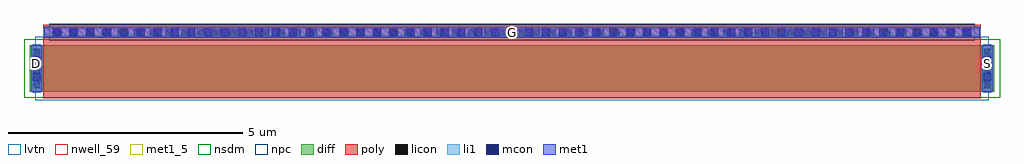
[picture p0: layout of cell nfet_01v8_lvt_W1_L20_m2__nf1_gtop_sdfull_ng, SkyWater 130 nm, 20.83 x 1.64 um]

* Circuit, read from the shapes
.subckt nfet_01v8_lvt_W1_L20_m2__nf1_gtop_sdfull_ng B D G S
XM1 S G D B sky130_fd_pr__nfet_01v8_lvt w=1 l=20
.ends

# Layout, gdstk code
import gdstk
lib = gdstk.Library(unit=1e-6, precision=1e-09)
def R(c, l, rs):  # rectangles x0, y0, x1, y1
    for r in rs: c.add(gdstk.rectangle(r[:2], r[2:], *l))
def A(c, l, x, y, w, h, nx, ny, dx, dy):  # array of equal rectangles
    R(c, l, [(x+i*dx, y+j*dy, x+i*dx+w, y+j*dy+h) for i in range(nx) for j in range(ny)])
nwell_59 = (64, 59)
diff = (65, 20)
poly = (66, 20)
licon = (66, 44)
li1 = (67, 20)
mcon = (67, 44)
met1_5 = (68, 5)
met1 = (68, 20)
nsdm = (93, 44)
npc = (95, 20)
lvtn = (125, 44)

sky130_fd_pr__nfet_01v8_ = lib.new_cell('sky130_fd_pr__nfet_01v8_lvt_MTL633')
R(sky130_fd_pr__nfet_01v8_, diff, [(-10.29,-0.655,10.29,0.345)])
R(sky130_fd_pr__nfet_01v8_, poly, [(-10,-0.785,10,0.785)])
A(sky130_fd_pr__nfet_01v8_, licon, -10.23, -0.58, 0.17, 0.17, 1, 3, 0, 0.34)
A(sky130_fd_pr__nfet_01v8_, licon, 10.06, -0.58, 0.17, 0.17, 1, 3, 0, 0.34)
A(sky130_fd_pr__nfet_01v8_, licon, -9.775, 0.535, 0.17, 0.17, 58, 1, 0.34, 0)
R(sky130_fd_pr__nfet_01v8_, li1, [(-10.23,-0.675,-10.06,0.365), (10.06,-0.675,10.23,0.365), (-10,0.535,10,0.705)])
A(sky130_fd_pr__nfet_01v8_, mcon, -9.805, 0.535, 0.17, 0.17, 55, 1, 0.36, 0)
R(sky130_fd_pr__nfet_01v8_, mcon, [(-10.23,-0.42,-10.06,-0.25), (10.06,-0.42,10.23,-0.25), (-10.23,-0.06,-10.06,0.11), (10.06,-0.06,10.23,0.11)])
R(sky130_fd_pr__nfet_01v8_, met1, [(-10.26,-0.655,-10.03,0.345), (10.03,-0.655,10.26,0.345), (-9.98,0.505,9.98,0.735)])
R(sky130_fd_pr__nfet_01v8_, nsdm, [(-10.415,-0.78,10.415,0.47)])
R(sky130_fd_pr__nfet_01v8_, npc, [(-9.875,0.435,9.875,0.805)])
R(sky130_fd_pr__nfet_01v8_, lvtn, [(-10.18,-0.835,10.18,0.525)])
sky130_fd_pr__nfet_01v8_.add(gdstk.Label('D', (-10.145,-0.155), layer=67, texttype=5))
sky130_fd_pr__nfet_01v8_.add(gdstk.Label('S', (10.145,-0.155), layer=67, texttype=5))
sky130_fd_pr__nfet_01v8_.add(gdstk.Label('G', (0,0.62), layer=67, texttype=5))

nfet_01v8_lvt_w1_l20_m2_ = lib.new_cell('nfet_01v8_lvt_W1_L20_m2__nf1_gtop_sdfull_ng')
R(nfet_01v8_lvt_w1_l20_m2_, nwell_59, [(0.05,0.58,0.15,0.68)])
R(nfet_01v8_lvt_w1_l20_m2_, met1_5, [(0.03,0.63,0.26,0.83), (20.32,0.63,20.55,0.83), (0.31,1.29,20.27,1.52)])
R(nfet_01v8_lvt_w1_l20_m2_, met1, [(0.03,0.63,0.26,0.83), (20.32,0.63,20.55,0.83), (0.31,1.29,20.27,1.52)])
nfet_01v8_lvt_w1_l20_m2_.add(gdstk.Reference(sky130_fd_pr__nfet_01v8_, (10.29,0.785)))
nfet_01v8_lvt_w1_l20_m2_.add(gdstk.Label('D', (0.145,0.73), layer=68, texttype=5))
nfet_01v8_lvt_w1_l20_m2_.add(gdstk.Label('S', (20.435,0.73), layer=68, texttype=5))
nfet_01v8_lvt_w1_l20_m2_.add(gdstk.Label('G', (10.29,1.405), layer=68, texttype=5))
nfet_01v8_lvt_w1_l20_m2_.add(gdstk.Label('B', (0.1,0.63), layer=64, texttype=59))

lib.write_gds('nfet_01v8_lvt_W1_L20_m2__nf1_gtop_sdfull_ng.gds')
